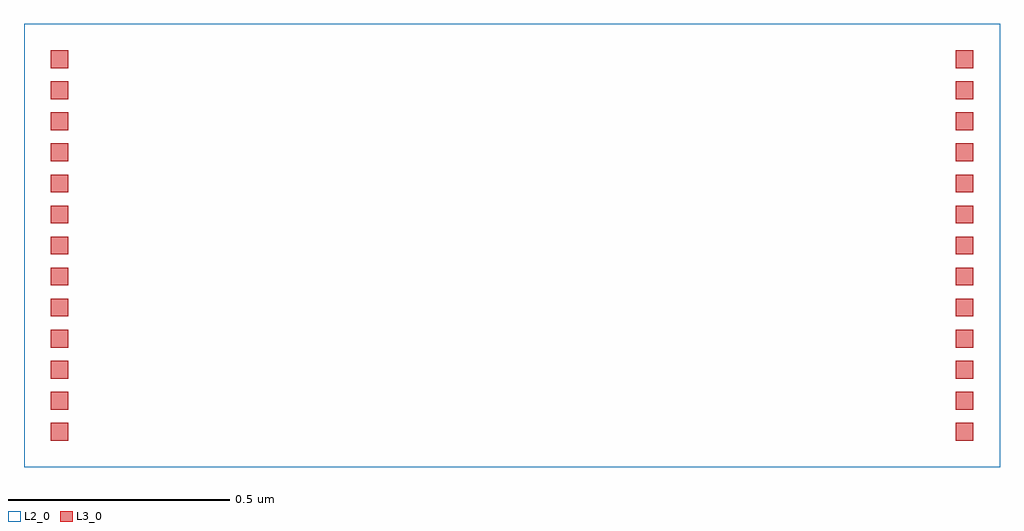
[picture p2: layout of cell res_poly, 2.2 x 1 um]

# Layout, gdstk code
import gdstk
lib = gdstk.Library(unit=1e-6, precision=5e-09)
def R(c, l, rs):  # rectangles x0, y0, x1, y1
    for r in rs: c.add(gdstk.rectangle(r[:2], r[2:], *l))
def A(c, l, x, y, w, h, nx, ny, dx, dy):  # array of equal rectangles
    R(c, l, [(x+i*dx, y+j*dy, x+i*dx+w, y+j*dy+h) for i in range(nx) for j in range(ny)])
L2_0 = (2, 0)
L3_0 = (3, 0)

res_poly = lib.new_cell('res_poly')
R(res_poly, L2_0, [(-0.1,-1,2.1,0)])
A(res_poly, L3_0, -0.04, -0.94, 0.04, 0.04, 1, 13, 0, 0.07)
A(res_poly, L3_0, 2, -0.94, 0.04, 0.04, 1, 13, 0, 0.07)

lib.write_gds('res_poly.gds')
